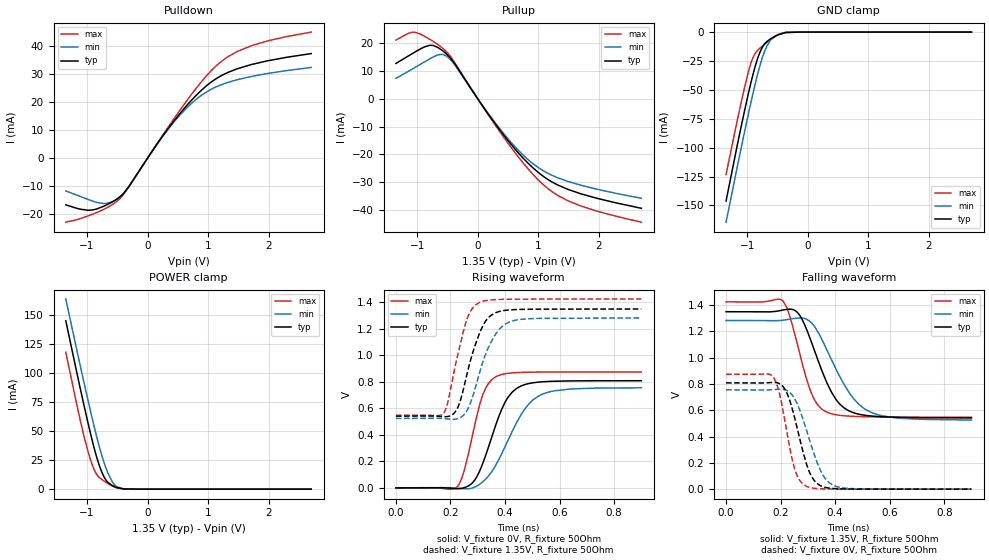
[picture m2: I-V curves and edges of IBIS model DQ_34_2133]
| [Disclaimer]  This software code and all associated documentation, comments
| or other information (collectively "Software") is provided
| "AS IS" without warranty of any kind. MICRON TECHNOLOGY, INC.
| ("MTI") EXPRESSLY DISCLAIMS ALL WARRANTIES EXPRESS OR IMPLIED,
| INCLUDING BUT NOT LIMITED TO, NONINFRINGEMENT OF THIRD PARTY
| RIGHTS, AND ANY IMPLIED WARRANTIES OF MERCHANTABILITY OR
| FITNESS FOR ANY PARTICULAR PURPOSE. MTI DOES NOT WARRANT THAT
| THE SOFTWARE WILL MEET YOUR REQUIREMENTS, OR THAT THE
| OPERATION OF THE SOFTWARE WILL BE UNINTERRUPTED OR ERROR-FREE.
| FURTHERMORE, MTI DOES NOT MAKE ANY REPRESENTATIONS REGARDING
| THE USE OR THE RESULTS OF THE USE OF THE SOFTWARE IN TERMS OF
| ITS CORRECTNESS, ACCURACY, RELIABILITY, OR OTHERWISE. THE
| ENTIRE RISK ARISING OUT OF USE OR PERFORMANCE OF THE SOFTWARE
| REMAINS WITH YOU. IN NO EVENT SHALL MTI, ITS AFFILIATED
| COMPANIES OR THEIR SUPPLIERS BE LIABLE FOR ANY DIRECT,
| INDIRECT, CONSEQUENTIAL, INCIDENTAL, OR SPECIAL DAMAGES
| (INCLUDING, WITHOUT LIMITATION, DAMAGES FOR LOSS OF PROFITS,
| BUSINESS INTERRUPTION, OR LOSS OF INFORMATION) ARISING OUT OF
| YOUR USE OF OR INABILITY TO USE THE SOFTWARE, EVEN IF MTI HAS
| BEEN ADVISED OF THE POSSIBILITY OF SUCH DAMAGES. Because some
| jurisdictions prohibit the exclusion or limitation of
| liability for consequential or incidental damages, the above
| limitation may not apply to you.
| [Copyright] Copyright 2015 Micron Technology, Inc. All rights reserved.
| From v00h_1p35_it_v5p0.ibs, Micron Technology,Inc.
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| MODEL DQ_34_2133 (34 Ohm Data I/O with no ODT, 2133Mbps)
[Model]   DQ_34_2133
Model_type   I/O
Vinl = 545.000mV
Vinh = 805.000mV
Vmeas = 675.000mV
Vref = 675.000mV
Cref = 0.0pF
Rref = 25.000Ohm
|   typ   min   max
|C_comp   1.100pF   1.025pF   1.175pF
C_comp_pullup   0.5500pF   0.5125pF   0.5875pF
C_comp_pulldown   0.5500pF   0.5125pF   0.5875pF
[Model Spec]
| Input threshold voltage corners
Vinl   0.5450V   0.5115V   0.5825V
Vinh   0.8050V   0.7715V   0.8425V
| Measurement voltage corners
Vmeas   0.6750V   0.6415V   0.7125V
| Timing spec test load voltage corners
Vref   0.6750V   0.6415V   0.7125V
| Dynamic Overshoot Parameters from DDR3L Specification
D_overshoot_ampl_h   0.40   NA   NA
D_overshoot_ampl_l   0.40   NA   NA
D_overshoot_area_h   0.10n   NA   NA
D_overshoot_area_l   0.10n   NA   NA
[Receiver Thresholds]
Vth   =  0.675V
Vth_min  =  0.6615V
Vth_max  =  0.6885V
Vinh_ac  =  0.130V
Vinh_dc  =  0.090V
Vinl_ac  = -0.130V
Vinl_dc  = -0.090V
Tslew_ac =  5.000ns |Not specified, so set to high value
Threshold_sensitivity = 0.50
Reference_supply Pullup_ref
[Voltage Range]   1.3500V   1.2830V   1.4250V
[Pullup Reference]   1.3500V   1.2830V   1.4250V
| Junction Temperature (Ambient temp is 35C typ, 95C min, -40C max)
[Temperature Range]   50.0   110.0   -40.0
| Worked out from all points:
|   slope of the pulldown table from 0 to 0.203 V, typ, clamps not added: 31.2 ohm
|   slope of the pullup table from 0 to 0.203 V, typ, clamps not added: 31.7 ohm
|   GND clamp passes 1 mA (typ) near -0.41 V on its own axis
|   POWER clamp passes 1 mA (typ) near -0.47 V on its own axis
|   falling waveform, V_fixture 1.35V, R_fixture 50Ohm: 20-80 % time 96.3ps typ, 120ps min, 71.7ps max; typ from 1.35 V to 0.542 V
|   rising waveform, V_fixture 0V, R_fixture 50Ohm: 20-80 % time 86.5ps typ, 116ps min, 62.1ps max; typ from 0 V to 0.809 V
|   rising waveform, V_fixture 1.35V, R_fixture 50Ohm: 20-80 % time 68.7ps typ, 77.9ps min, 58.4ps max; typ from 0.542 V to 1.35 V
|   falling waveform, V_fixture 0V, R_fixture 50Ohm: 20-80 % time 62.1ps typ, 74.5ps min, 49.9ps max; typ from 0.809 V to 0 V
[Pulldown]
|   Voltage   I(typ)   I(min)   I(max)
-1.35V    -16.76mA   -11.79mA   -22.98mA
-1.121V   -18.28mA   -13.66mA   -21.75mA
-912.5mV  -18.6mA    -15.38mA   -20.15mA
-696.6mV  -16.99mA   -16.27mA   -18.09mA
-512.1mV  -14.78mA   -14.8mA    -15.6mA
-317.2mV  -10.47mA   -10.44mA   -10.54mA
189.6mV   6.082mA    5.98mA     6.239mA
522.4mV   15.67mA    15.13mA    16.78mA
882.4mV   24.17mA    22.38mA    27.19mA
1.248V    29.87mA    26.53mA    35.13mA
1.712V    33.49mA    29.23mA    40.22mA
2.7V      37.42mA    32.45mA    45.12mA
[GND Clamp]
|   Voltage   I(typ)   I(min)   I(max)
-1.35V    -146.1mA   -164.4mA   -123.2mA
-1.106V   -83.13mA   -101.6mA   -62.16mA
-984.1mV  -53.77mA   -71.48mA   -34.89mA
-931.5mV  -42.09mA   -59.01mA   -25.59mA
-873.4mV  -30.41mA   -45.87mA   -18.77mA
-809.9mV  -19.97mA   -32.64mA   -14.81mA
-762.9mV  -14.3mA    -24.1mA    -12.61mA
-716.2mV  -10.39mA   -17.03mA   -10.54mA
-629mV    -6.347mA   -7.938mA   -6.901mA
-528.9mV  -3.282mA   -3.265mA   -3.286mA
-367.2mV  -379.2uA   -433.5uA   -183.9uA
2.7V      0A         0A         0A
[Pullup]
|   Voltage   I(typ)   I(min)   I(max)
-1.35V    12.73mA    7.348mA    21.13mA
-1.055V   16.58mA    11.02mA    24.01mA
-754.3mV  19.24mA    14.84mA    20.92mA
-519.8mV  16.21mA    15.43mA    17.01mA
-391mV    12.95mA    12.55mA    13.38mA
119mV     -3.805mA   -3.676mA   -3.967mA
513.9mV   -15.44mA   -14.78mA   -16.42mA
828.8mV   -23.15mA   -21.87mA   -25.16mA
1.084V    -27.95mA   -25.94mA   -30.96mA
1.322V    -31.06mA   -28.46mA   -34.81mA
1.698V    -34.18mA   -31.09mA   -38.56mA
2.7V      -39.42mA   -35.83mA   -44.43mA
[POWER Clamp]
|   Voltage   I(typ)   I(min)   I(max)
-1.35V    145.1mA    163.8mA    118mA
-1.083V   80.08mA    99.66mA    52.97mA
-990.9mV  58.71mA    78.24mA    33.81mA
-901.1mV  39.23mA    58.12mA    19.14mA
-818.5mV  23.82mA    40.78mA    11.22mA
-722.6mV  10.97mA    23.52mA    7.193mA
-662.9mV  6.175mA    14.84mA    5.166mA
-585.3mV  3.162mA    6.434mA    2.856mA
-524.9mV  1.788mA    2.8mA      1.436mA
-402.3mV  294.8uA    422.8uA    113.6uA
-133.7mV  286.8nA    1.419uA    0A
2.7V      0A         0A         0A
[Ramp]
R_load = 50
|   typ   min   max
dV/dt_r 4.8521E-01/8.6389E-11   4.5324E-01/1.1566E-10   5.2479E-01/6.2055E-11
dV/dt_f 4.8487E-01/9.5921E-11   4.5433E-01/1.1946E-10   5.2644E-01/7.1525E-11
[Falling Waveform]
V_fixture = 1.35V
V_fixture_min = 1.283V
V_fixture_max = 1.425V
R_fixture = 50Ohm
C_fixture = 0F
|   Time   V(typ)   V(min)   V(max)
0s        1.35V      1.283V     1.425V
208ps     1.363V     1.285V     1.432V
234ps     1.369V     1.294V     1.314V
272ps     1.317V     1.303V     1.016V
320ps     1.079V     1.25V      697.8mV
368ps     818.1mV    1.067V     587.6mV
434ps     616.4mV    792.7mV    558.4mV
516ps     560.3mV    600.8mV    550.9mV
626ps     546.5mV    542.1mV    548.4mV
900ps     541.9mV    525.8mV    547.6mV
[Rising Waveform]
V_fixture = 0V
V_fixture_min = 0V
V_fixture_max = 0V
R_fixture = 50Ohm
C_fixture = 0F
|   Time   V(typ)   V(min)   V(max)
0s        0V         5.019uV    -722.7nV
226ps     -6.379mV   -2.139mV   10.74mV
248ps     162.2uV    -6.276mV   114.7mV
280ps     37.1mV     -856.5uV   389.4mV
318ps     182.5mV    45.13mV    698.8mV
370ps     496.9mV    186.5mV    842.3mV
426ps     722.1mV    423.9mV    867.9mV
474ps     780.5mV    599.2mV    872.5mV
520ps     797.6mV    689.4mV    873.9mV
900ps     808.7mV    755.4mV    874.6mV
[Rising Waveform]
V_fixture = 1.35V
V_fixture_min = 1.283V
V_fixture_max = 1.425V
R_fixture = 50Ohm
C_fixture = 0F
|   Time   V(typ)   V(min)   V(max)
0s        541.6mV    524.4mV    547.6mV
176ps     537.4mV    523.3mV    567.1mV
192ps     539.6mV    520mV      661.4mV
230ps     622mV      524.4mV    1.033V
264ps     887.2mV    597.3mV    1.292V
306ps     1.164V     864.6mV    1.399V
332ps     1.267V     1.025V     1.414V
364ps     1.321V     1.156V     1.421V
418ps     1.343V     1.254V     1.424V
900ps     1.35V      1.283V     1.425V
[Falling Waveform]
|Gnd
V_fixture = 0V
V_fixture_min = 0V
V_fixture_max = 0V
R_fixture = 50Ohm
C_fixture = 0F
|   Time   V(typ)   V(min)   V(max)
0s        808.7mV    755.7mV    874.6mV
174ps     812.3mV    757.5mV    849.7mV
194ps     804.6mV    760.5mV    742.2mV
228ps     707.3mV    744.8mV    378.6mV
258ps     488.6mV    662.5mV    116mV
294ps     198mV      455mV      22.87mV
322ps     69.63mV    272.3mV    7.113mV
350ps     23mV       126.7mV    2.687mV
400ps     3.966mV    23.25mV    793.1uV
900ps     6.144uV    24.51uV    887.1nV
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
